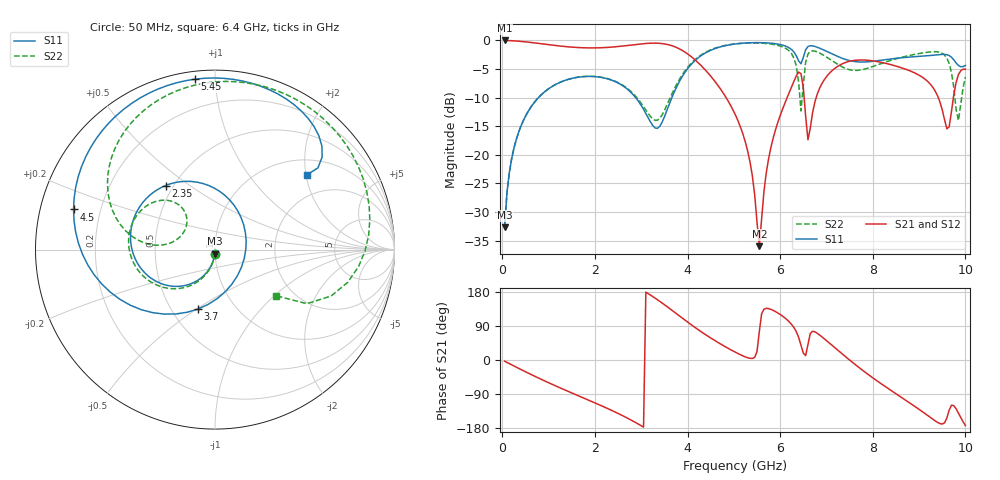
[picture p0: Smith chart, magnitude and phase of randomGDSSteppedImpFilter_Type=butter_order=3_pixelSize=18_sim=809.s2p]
! freq	dB(S11)	phase(S11)	dB(S12)	phase(S12)
!  dB(S21)	phase(S21)	dB(S22)	phase(S22)
!S-par simulation data
#  GHz  S  DB  R 50
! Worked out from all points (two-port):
!   200 points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, 50 MHz to 10 GHz, reference 50 ohm
!   highest |S21| = -0.01 dB at 50 MHz (marker M1); lowest = -36.0 dB at 5.55 GHz (marker M2)
!   |S21| within 3 dB of the highest: start of sweep to 4.106 GHz
!   lowest |S11| = -32.7 dB at 50 MHz (marker M3), VSWR 1.05, Z = 49.8 - j2.3 ohm
!   |S11| at or under -10 dB: start of sweep to 782.4 MHz; 2.878 GHz to 3.662 GHz (784 MHz wide, 24 % of centre)
!   |S22| runs from -32.7 to -0.4 dB; largest |S21 - S12| = 0
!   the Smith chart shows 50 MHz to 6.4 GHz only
!   S11 on the Smith chart (normalised r, x): 50 MHz: 1.00, -0.05; 2.35 GHz: 0.45, +0.41; 3.7 GHz: 0.67, -0.51; 4.5 GHz: 0.10, +0.14; 5.45 GHz: 0.04, +0.89; 6.4 GHz: 1.37, +2.03
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0.05  -32.71 -93.4  -0.01 -3.2  -0.01 -3.2  -32.70 -93.2
0.5  -13.27 -122.6  -0.25 -31.0  -0.25 -31.0  -13.26 -120.5
1.75  -6.33 164.5  -1.29 -100.0  -1.29 -100.0  -6.31 174.7
2.35  -6.92 127.6  -1.18 -132.3  -1.18 -132.3  -6.87 147.7
3.4  -15.03 -33.8  -0.51 154.8  -0.51 154.8  -13.63 160.4
3.7  -9.27 -105.9  -1.04 127.9  -1.04 127.9  -8.72 175.4
4.5  -1.73 164.1  -6.24 58.1  -6.24 58.1  -1.64 127.8
5.05  -0.60 122.9  -13.33 19.5  -13.33 19.5  -0.59 89.8
5.45  -0.39 96.7  -27.00 6.8  -27.00 6.8  -0.44 61.6
5.55  -0.39 90.3  -35.98 75.1  -35.98 75.1  -0.46 54.2
6.1  -0.95 54.6  -11.02 111.2  -11.02 111.2  -1.31 5.4
6.4  -3.60 39.1  -5.55 59.5  -5.55 59.5  -7.39 -37.1
6.5  -2.96 52.5  -8.23 18.2  -8.23 18.2  -7.81 23.5
6.6  -1.08 42.5  -17.38 40.5  -17.38 40.5  -2.40 -1.2
6.7  -0.95 31.4  -12.65 75.9  -12.65 75.9  -1.82 -24.0
7.05  -2.08 7.0  -5.86 46.1  -5.86 46.1  -3.17 -83.1
7.5  -3.54 -12.3  -3.65 -0.1  -3.65 -0.1  -5.12 -163.1
8.35  -3.28 -51.0  -4.15 -76.7  -4.15 -76.7  -3.59 75.5
9.15  -2.70 -119.0  -6.92 -143.2  -6.92 -143.2  -2.10 5.1
9.6  -2.49 178.3  -15.46 -153.1  -15.46 -153.1  -3.10 -57.6
9.8  -3.94 145.8  -7.33 -128.9  -7.33 -128.9  -12.11 -152.9
10  -4.38 129.2  -5.05 -172.9  -5.05 -172.9  -6.40 50.6
